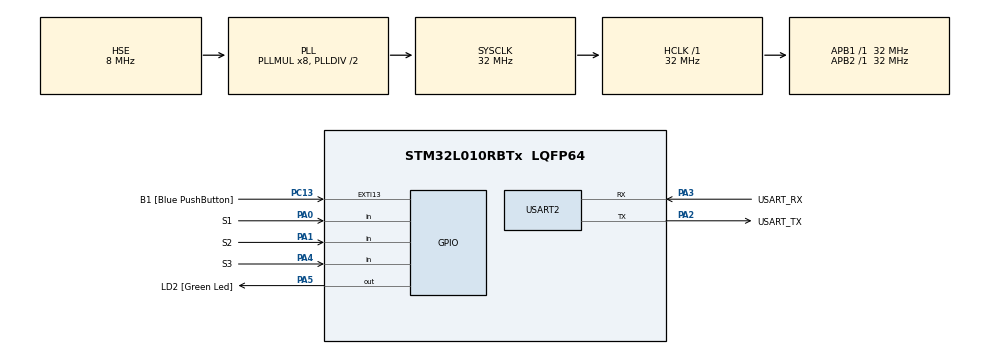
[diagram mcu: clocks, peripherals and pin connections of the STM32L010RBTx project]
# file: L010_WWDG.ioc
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IWDG.Prescaler=IWDG_PRESCALER_64
Mcu.Family=STM32L0
Mcu.Name=STM32L010RBTx
Mcu.Package=LQFP64
PA0.GPIO_Label=S1
PA0.Signal=GPIO_Input
PA1.GPIO_Label=S2
PA1.Signal=GPIO_Input
PA13.GPIO_Label=TMS
PA13.Mode=Serial_Wire
PA13.Signal=SYS_SWDIO
PA14.GPIO_Label=TCK
PA14.Mode=Serial_Wire
PA14.Signal=SYS_SWCLK
PA2.GPIO_Label=USART_TX
PA2.Mode=Asynchronous
PA2.Signal=USART2_TX
PA3.GPIO_Label=USART_RX
PA3.Mode=Asynchronous
PA3.Signal=USART2_RX
PA4.GPIO_Label=S3
PA4.Signal=GPIO_Input
PA5.GPIO_Label=LD2 [Green Led]
PA5.Signal=GPIO_Output
PC13.GPIO_Label=B1 [Blue PushButton]
PC13.GPIO_ModeDefaultEXTI=GPIO_MODE_IT_FALLING
PC13.Signal=GPXTI13
PC14-OSC32_IN.Mode=LSE-External-Oscillator
PC14-OSC32_IN.Signal=RCC_OSC32_IN
PC15-OSC32_OUT.Mode=LSE-External-Oscillator
PC15-OSC32_OUT.Signal=RCC_OSC32_OUT
PH0-OSC_IN.GPIO_Label=MCO
PH0-OSC_IN.Mode=HSE-External-Clock-Source
PH0-OSC_IN.Signal=RCC_OSC_IN
ProjectManager.HeapSize=0x200
ProjectManager.StackSize=0x400
ProjectManager.TargetToolchain=STM32CubeIDE
RCC.AHBFreq_Value=32000000
RCC.APB1Freq_Value=32000000
RCC.APB1TimFreq_Value=32000000
RCC.APB2Freq_Value=32000000
RCC.APB2TimFreq_Value=32000000
RCC.HCLKFreq_Value=32000000
RCC.HSE_VALUE=8000000
RCC.HSI16_VALUE=16000000
RCC.HSI48_VALUE=48000000
RCC.HSI_VALUE=16000000
RCC.MSI_VALUE=2097000
RCC.PLLMUL=RCC_PLLMUL_8
RCC.PLLSourceVirtual=RCC_PLLSOURCE_HSE
RCC.SYSCLKFreq_VALUE=32000000
RCC.SYSCLKSource=RCC_SYSCLKSOURCE_PLLCLK
RCC.VCOOutputFreq_Value=64000000
USART2.VirtualMode-Asynchronous=VM_ASYNC
VP_IWDG_VS_IWDG.Mode=IWDG_Activate
VP_WWDG_VS_WWDG.Mode=WWDG_Activate
WWDG.Counter=127
WWDG.Prescaler=WWDG_PRESCALER_8
WWDG.Window=100
board=NUCLEO-L010RB

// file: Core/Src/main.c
/* USER CODE BEGIN Header */
/**
  ******************************************************************************
  * @file           : main.c
  * @brief          : Main program body
  ******************************************************************************
  * @attention
  *
  * Copyright (c) 2022 STMicroelectronics.
  * All rights reserved.
  *
  * This software is licensed under terms that can be found in the LICENSE file
  * in the root directory of this software component.
  * If no LICENSE file comes with this software, it is provided AS-IS.
  *
  ******************************************************************************
  */
/* USER CODE END Header */
#include "main.h"

 IWDG_HandleTypeDef hiwdg;

UART_HandleTypeDef huart2;

WWDG_HandleTypeDef hwwdg;

void SystemClock_Config(void);
static void MX_GPIO_Init(void);
static void MX_USART2_UART_Init(void);
static void MX_IWDG_Init(void);
static void MX_WWDG_Init(void);

int main(void)
{

  /* MCU Configuration--------------------------------------------------------*/

  /* Reset of all peripherals, Initializes the Flash interface and the Systick. */
  HAL_Init();

  /* Configure the system clock */
  SystemClock_Config();

  /* USER CODE BEGIN SysInit */
  ///////// Blink LD2 every Reset happen
  MX_GPIO_Init();
  HAL_GPIO_WritePin(LD2_GPIO_Port, LD2_Pin, GPIO_PIN_SET);
  HAL_Delay(1000);
  HAL_GPIO_WritePin(LD2_GPIO_Port, LD2_Pin, GPIO_PIN_RESET);
  HAL_Delay(1000);
  ///////////////////// Watchdog can only be enable / cant close during work

  /* USER CODE END SysInit */

  /* Initialize all configured peripherals */
  MX_GPIO_Init();
  MX_USART2_UART_Init();
  MX_IWDG_Init();
  MX_WWDG_Init();

  /* Infinite loop */
  while (1)
  {

    /* USER CODE BEGIN 3 */
	  /*
	   * WWDG must be reset every 37-65 mSec
	   * APB Clk = 32 MHz
	   * Prescalar = 2^3 = 8
	   * reloadt = 127 (disable g bit, 0b 0g11 1111 -> get 63)
	   * reloadw = 100 (disable g bit, 0b 0g10 0100 -> get 36)
	   * timeout = (1/32MHz) * 4096 * Presclr * (reloadt+1) = 0.065 sec
	   * window  = (1/32MHz) * 4096 * Presclr * (reloadw+1) = 0.037 sec
	   *
	   * IWDG
	   * Prescalr = 64
	   * Reload = 4095
	   * (1/37KHz)* Prescalr * Reload = 7.08 sec
	   * */

	  if (HAL_GPIO_ReadPin(S1_GPIO_Port, S1_Pin)== GPIO_PIN_RESET){
		  //// Refresh at 70ms -> CPU reset
		  HAL_Delay(70);
		  HAL_WWDG_Refresh(&hwwdg);
	  }
	  else if(HAL_GPIO_ReadPin(S2_GPIO_Port, S2_Pin)== GPIO_PIN_RESET){
		  //// Refresh at 20ms -> CPU reset
		  HAL_Delay(20);
		  HAL_WWDG_Refresh(&hwwdg);
	  }
	  else if(HAL_GPIO_ReadPin(S3_GPIO_Port, S3_Pin)== GPIO_PIN_RESET){
	  		  //// Stop Main CLK -> CPU & WWDG will be reset -> IWDG reset instead
		  HAL_SuspendTick();
		  __HAL_PWR_CLEAR_FLAG(PWR_FLAG_WU);
		  HAL_PWR_EnterSTOPMode(PWR_REGULATOR_VOLTAGE_SCALE1,PWR_STOPENTRY_WFE);
	  	 }
	  else{
		  HAL_Delay(50);
		  HAL_WWDG_Refresh(&hwwdg);
	  }

	  // Refresh IWDG
	  HAL_IWDG_Refresh(&hiwdg);
  }
  /* USER CODE END 3 */
}

void SystemClock_Config(void)
{
  RCC_OscInitTypeDef RCC_OscInitStruct = {0};
  RCC_ClkInitTypeDef RCC_ClkInitStruct = {0};
  RCC_PeriphCLKInitTypeDef PeriphClkInit = {0};

  /** Configure the main internal regulator output voltage
  */
  __HAL_PWR_VOLTAGESCALING_CONFIG(PWR_REGULATOR_VOLTAGE_SCALE1);

  /** Initializes the RCC Oscillators according to the specified parameters
  * in the RCC_OscInitTypeDef structure.
  */
  RCC_OscInitStruct.OscillatorType = RCC_OSCILLATORTYPE_LSI|RCC_OSCILLATORTYPE_HSE;
  RCC_OscInitStruct.HSEState = RCC_HSE_BYPASS;
  RCC_OscInitStruct.LSIState = RCC_LSI_ON;
  RCC_OscInitStruct.PLL.PLLState = RCC_PLL_ON;
  RCC_OscInitStruct.PLL.PLLSource = RCC_PLLSOURCE_HSE;
  RCC_OscInitStruct.PLL.PLLMUL = RCC_PLLMUL_8;
  RCC_OscInitStruct.PLL.PLLDIV = RCC_PLLDIV_2;
  if (HAL_RCC_OscConfig(&RCC_OscInitStruct) != HAL_OK)
  {
    Error_Handler();
  }

  /** Initializes the CPU, AHB and APB buses clocks
  */
  RCC_ClkInitStruct.ClockType = RCC_CLOCKTYPE_HCLK|RCC_CLOCKTYPE_SYSCLK
                              |RCC_CLOCKTYPE_PCLK1|RCC_CLOCKTYPE_PCLK2;
  RCC_ClkInitStruct.SYSCLKSource = RCC_SYSCLKSOURCE_PLLCLK;
  RCC_ClkInitStruct.AHBCLKDivider = RCC_SYSCLK_DIV1;
  RCC_ClkInitStruct.APB1CLKDivider = RCC_HCLK_DIV1;
  RCC_ClkInitStruct.APB2CLKDivider = RCC_HCLK_DIV1;

  if (HAL_RCC_ClockConfig(&RCC_ClkInitStruct, FLASH_LATENCY_1) != HAL_OK)
  {
    Error_Handler();
  }
  PeriphClkInit.PeriphClockSelection = RCC_PERIPHCLK_USART2;
  PeriphClkInit.Usart2ClockSelection = RCC_USART2CLKSOURCE_PCLK1;
  if (HAL_RCCEx_PeriphCLKConfig(&PeriphClkInit) != HAL_OK)
  {
    Error_Handler();
  }
}

static void MX_IWDG_Init(void)
{

  hiwdg.Instance = IWDG;
  hiwdg.Init.Prescaler = IWDG_PRESCALER_64;
  hiwdg.Init.Window = 4095;
  hiwdg.Init.Reload = 4095;
  if (HAL_IWDG_Init(&hiwdg) != HAL_OK)
  {
    Error_Handler();
  }

}

static void MX_USART2_UART_Init(void)
{

  huart2.Instance = USART2;
  huart2.Init.BaudRate = 115200;
  huart2.Init.WordLength = UART_WORDLENGTH_8B;
  huart2.Init.StopBits = UART_STOPBITS_1;
  huart2.Init.Parity = UART_PARITY_NONE;
  huart2.Init.Mode = UART_MODE_TX_RX;
  huart2.Init.HwFlowCtl = UART_HWCONTROL_NONE;
  huart2.Init.OverSampling = UART_OVERSAMPLING_16;
  huart2.Init.OneBitSampling = UART_ONE_BIT_SAMPLE_DISABLE;
  huart2.AdvancedInit.AdvFeatureInit = UART_ADVFEATURE_NO_INIT;
  if (HAL_UART_Init(&huart2) != HAL_OK)
  {
    Error_Handler();
  }

}

static void MX_WWDG_Init(void)
{

  hwwdg.Instance = WWDG;
  hwwdg.Init.Prescaler = WWDG_PRESCALER_8;
  hwwdg.Init.Window = 100;
  hwwdg.Init.Counter = 127;
  hwwdg.Init.EWIMode = WWDG_EWI_DISABLE;
  if (HAL_WWDG_Init(&hwwdg) != HAL_OK)
  {
    Error_Handler();
  }

}

static void MX_GPIO_Init(void)
{
  GPIO_InitTypeDef GPIO_InitStruct = {0};

  /* GPIO Ports Clock Enable */
  __HAL_RCC_GPIOC_CLK_ENABLE();
  __HAL_RCC_GPIOH_CLK_ENABLE();
  __HAL_RCC_GPIOA_CLK_ENABLE();

  /*Configure GPIO pin Output Level */
  HAL_GPIO_WritePin(LD2_GPIO_Port, LD2_Pin, GPIO_PIN_RESET);

  /*Configure GPIO pin : B1_Pin */
  GPIO_InitStruct.Pin = B1_Pin;
  GPIO_InitStruct.Mode = GPIO_MODE_IT_FALLING;
  GPIO_InitStruct.Pull = GPIO_NOPULL;
  HAL_GPIO_Init(B1_GPIO_Port, &GPIO_InitStruct);

  /*Configure GPIO pins : S1_Pin S2_Pin S3_Pin */
  GPIO_InitStruct.Pin = S1_Pin|S2_Pin|S3_Pin;
  GPIO_InitStruct.Mode = GPIO_MODE_INPUT;
  GPIO_InitStruct.Pull = GPIO_NOPULL;
  HAL_GPIO_Init(GPIOA, &GPIO_InitStruct);

  /*Configure GPIO pin : LD2_Pin */
  GPIO_InitStruct.Pin = LD2_Pin;
  GPIO_InitStruct.Mode = GPIO_MODE_OUTPUT_PP;
  GPIO_InitStruct.Pull = GPIO_NOPULL;
  GPIO_InitStruct.Speed = GPIO_SPEED_FREQ_LOW;
  HAL_GPIO_Init(LD2_GPIO_Port, &GPIO_InitStruct);

}

void Error_Handler(void)
{
  __disable_irq();
  while (1)
  {
  }
}
